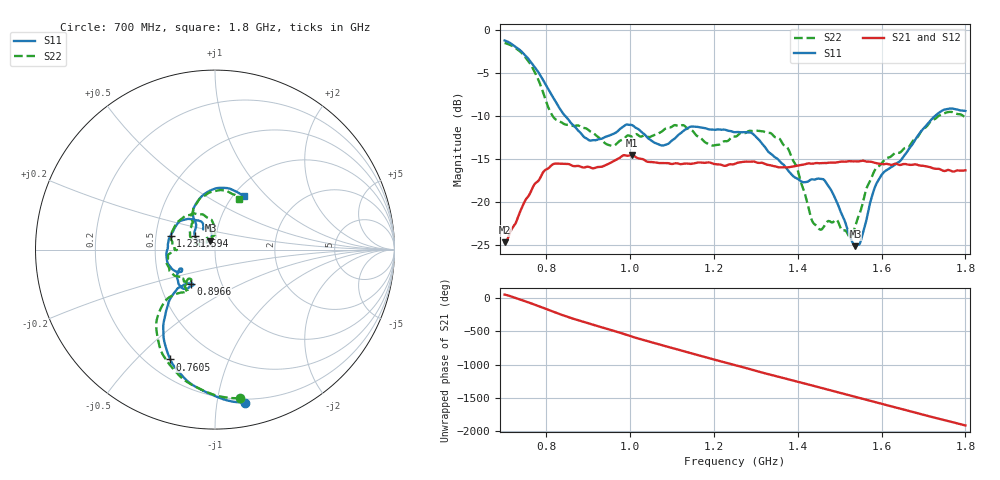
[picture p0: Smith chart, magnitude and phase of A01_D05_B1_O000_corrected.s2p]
! Created with skrf 1.9.0 (http://scikit-rf.org).
# Hz S RI R 50.0
!freq ReS11 ImS11 ReS21 ImS21 ReS12 ImS12 ReS22 ImS22
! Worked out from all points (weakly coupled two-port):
!   1601 points, 700 MHz to 1.8 GHz, reference 50 ohm
!   highest |S21| = -14.54 dB at 1.003 GHz (marker M1); lowest = -24.7 dB at 700 MHz (marker M2)
!   lowest |S11| = -25.1 dB at 1.537 GHz (marker M3), VSWR 1.12, Z = 47.3 + j4.68 ohm
!   |S11| at or under -10 dB: 844.8 MHz to 1.728 GHz (882.8 MHz wide, 68.6 % of centre)
!   |S22| runs from -24.1 to -1.5 dB; largest |S21 - S12| = 0.0036
!   S11 on the Smith chart (normalised r, x): 700 MHz: 0.17, -1.20; 760.5 MHz: 0.29, -0.63; 896.6 MHz: 0.71, -0.29; 1.235 GHz: 0.60, +0.10; 1.594 GHz: 0.79, +0.12; 1.8 GHz: 1.12, +0.75
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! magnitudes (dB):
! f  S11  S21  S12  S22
! 700 MHz  -1.2  -24.7  -24.5  -1.5
! 760.5 MHz  -3.6  -19.0  -18.9  -3.9
! 817.6 MHz  -8.0  -15.6  -15.7  -10.2
! 883.6 MHz  -12.1  -15.9  -15.8  -11.3
! 896.6 MHz  -12.6  -15.9  -16.0  -11.5
! 954.4 MHz  -12.2  -15.4  -15.4  -13.5
! 1.003 GHz  -11.0  -14.5  -14.7  -12.4
! 1.067 GHz  -13.3  -15.5  -15.4  -12.0
! 1.145 GHz  -11.2  -15.6  -15.6  -11.6
! 1.235 GHz  -11.7  -15.7  -15.7  -12.8
! 1.25 GHz  -11.9  -15.6  -15.5  -12.4
! 1.291 GHz  -12.0  -15.3  -15.3  -11.8
! 1.357 GHz  -15.3  -16.0  -15.9  -12.7
! 1.396 GHz  -17.2  -15.8  -15.8  -15.8
! 1.434 GHz  -17.4  -15.5  -15.5  -22.1
! 1.474 GHz  -18.2  -15.4  -15.5  -22.2
! 1.524 GHz  -24.0  -15.3  -15.3  -24.1
! 1.537 GHz  -25.1  -15.3  -15.3  -22.8
! 1.594 GHz  -17.3  -15.6  -15.5  -15.8
! 1.617 GHz  -16.1  -15.6  -15.6  -14.8
! 1.735 GHz  -9.7  -16.1  -16.2  -10.0
! 1.8 GHz  -9.4  -16.3  -16.3  -10.1
